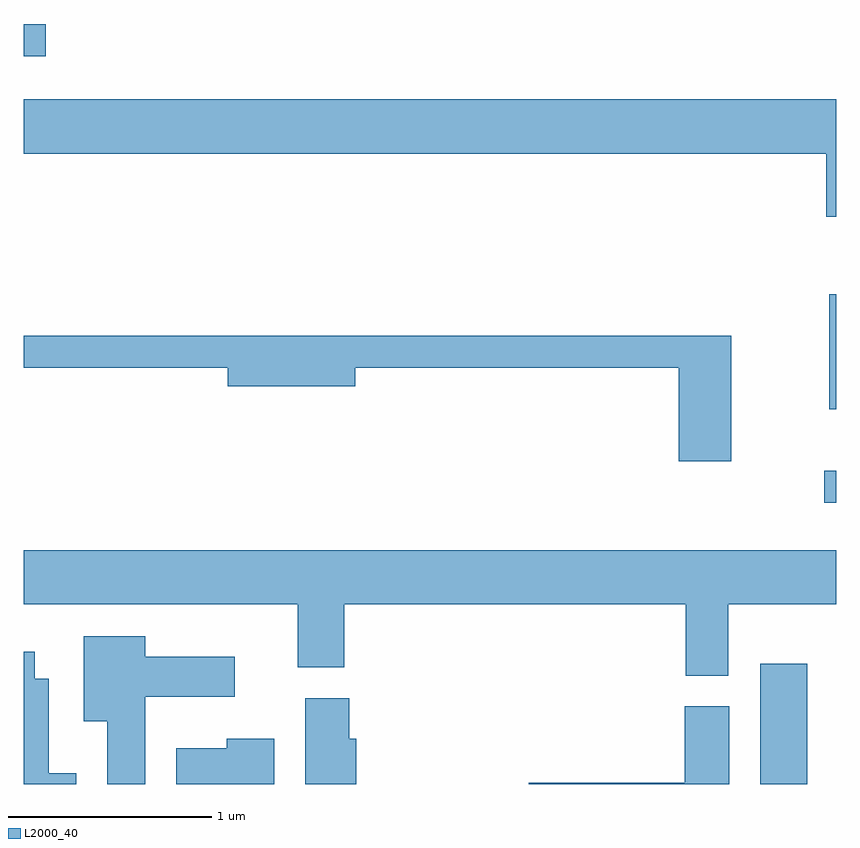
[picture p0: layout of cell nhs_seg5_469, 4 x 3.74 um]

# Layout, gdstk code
import gdstk
lib = gdstk.Library(unit=1e-6, precision=1e-09)
def R(c, l, rs):  # rectangles x0, y0, x1, y1
    for r in rs: c.add(gdstk.rectangle(r[:2], r[2:], *l))
def P(c, l, *ps):  # polygons
    for p in ps: c.add(gdstk.Polygon(p, *l))
L2000_40 = (2000, 40)

nhs_seg5_469 = lib.new_cell('nhs_seg5_469')
R(nhs_seg5_469, L2000_40, [(201.236,1518.072,201.469,1518.664), (201.553,1519.456,201.611,1519.614), (201.576,1519.916,201.611,1520.484), (197.611,1521.656,197.718,1521.814)])
P(nhs_seg5_469, L2000_40, [(201.611,1521.444),(197.611,1521.444),(197.611,1521.176),(201.561,1521.176),(201.561,1520.866),(201.611,1520.866)],
  [(201.094,1520.279),(197.611,1520.279),(197.611,1520.121),(198.616,1520.121),(198.616,1520.031),(199.244,1520.031),(199.244,1520.121),(200.836,1520.121),(200.836,1519.661),(201.094,1519.661)],
  [(201.079,1518.956),(201.611,1518.956),(201.611,1519.224),(197.611,1519.224),(197.611,1518.956),(198.961,1518.956),(198.961,1518.646),(199.189,1518.646),(199.189,1518.956),(200.871,1518.956),(200.871,1518.606),(201.079,1518.606)],
  [(198.209,1518.501),(198.649,1518.501),(198.649,1518.699),(198.209,1518.699),(198.209,1518.799),(197.906,1518.799),(197.906,1518.381),(198.021,1518.381),(198.021,1518.072),(198.209,1518.072)],
  [(197.869,1518.124),(197.734,1518.124),(197.734,1518.589),(197.664,1518.589),(197.664,1518.724),(197.611,1518.724),(197.611,1518.072),(197.869,1518.072)],
  [(199.249,1518.294),(199.214,1518.294),(199.214,1518.494),(198.996,1518.494),(198.996,1518.072),(199.249,1518.072)],
  [(201.084,1518.454),(200.866,1518.454),(200.866,1518.079),(200.096,1518.079),(200.096,1518.072),(201.084,1518.072)],
  [(198.844,1518.294),(198.611,1518.294),(198.611,1518.249),(198.361,1518.249),(198.361,1518.072),(198.844,1518.072)])

lib.write_gds('nhs_seg5_469.gds')
